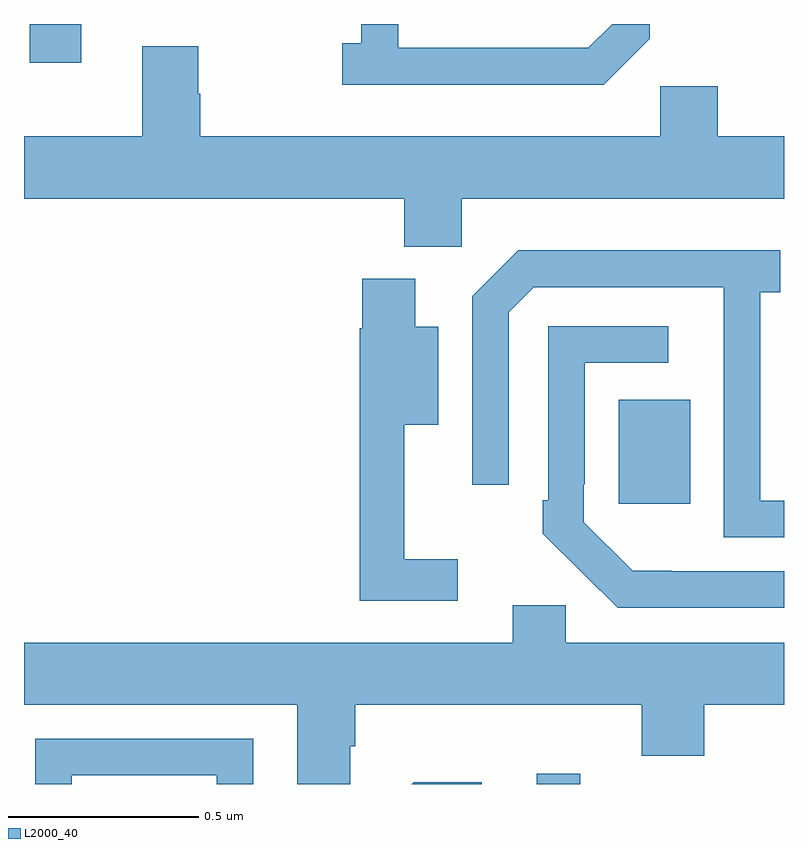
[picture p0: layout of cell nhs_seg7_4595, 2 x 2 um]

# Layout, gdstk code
import gdstk
lib = gdstk.Library(unit=1e-6, precision=1e-09)
def R(c, l, rs):  # rectangles x0, y0, x1, y1
    for r in rs: c.add(gdstk.rectangle(r[:2], r[2:], *l))
def P(c, l, *ps):  # polygons
    for p in ps: c.add(gdstk.Polygon(p, *l))
L2000_40 = (2000, 40)

nhs_seg7_4595 = lib.new_cell('nhs_seg7_4595')
R(nhs_seg7_4595, L2000_40, [(175.349,1075,175.464,1075.027), (175.565,1075.737,175.753,1076.011), (174.015,1076.898,174.151,1077)])
P(nhs_seg7_4595, L2000_40, [(175.647,1076.961),(175.647,1077),(175.548,1077),(175.485,1076.937),(174.985,1076.937),(174.985,1077),(174.888,1077),(174.888,1076.95),(174.837,1076.95),(174.837,1076.84),(175.526,1076.84)],
  [(175.152,1076.54),(176,1076.54),(176,1076.704),(175.826,1076.704),(175.826,1076.836),(175.674,1076.836),(175.674,1076.704),(174.464,1076.704),(174.464,1076.817),(174.459,1076.817),(174.459,1076.942),(174.311,1076.942),(174.311,1076.704),(174,1076.704),(174,1076.54),(175.001,1076.54),(175.001,1076.414),(175.152,1076.414)],
  [(176,1075.746),(175.938,1075.746),(175.938,1076.294),(175.99,1076.294),(175.99,1076.404),(175.3,1076.404),(175.179,1076.283),(175.179,1075.788),(175.275,1075.788),(175.275,1076.241),(175.341,1076.307),(175.841,1076.307),(175.841,1076.107),(175.842,1076.107),(175.842,1075.65),(176,1075.65)],
  [(175.141,1075.591),(175.001,1075.591),(175.001,1075.946),(175.09,1075.946),(175.09,1076.203),(175.03,1076.203),(175.03,1076.329),(174.89,1076.329),(174.89,1076.199),(174.883,1076.199),(174.883,1075.482),(175.141,1075.482)],
  [(176,1075.56),(175.705,1075.56),(175.705,1075.561),(175.602,1075.561),(175.473,1075.689),(175.473,1075.789),(175.476,1075.789),(175.476,1076.109),(175.696,1076.109),(175.696,1076.205),(175.38,1076.205),(175.38,1075.747),(175.365,1075.747),(175.365,1075.659),(175.47,1075.554),(175.471,1075.555),(175.562,1075.464),(176,1075.464)],
  [(174.858,1075.099),(174.872,1075.099),(174.872,1075.208),(175.625,1075.208),(175.625,1075.075),(175.79,1075.075),(175.79,1075.208),(176,1075.208),(176,1075.372),(175.425,1075.372),(175.425,1075.47),(175.286,1075.47),(175.286,1075.372),(174,1075.372),(174,1075.208),(174.719,1075.208),(174.719,1075),(174.858,1075)],
  [(174.126,1075.023),(174.507,1075.023),(174.507,1075),(174.603,1075),(174.603,1075.119),(174.029,1075.119),(174.029,1075),(174.126,1075)],
  [(175.204,1075.004),(175.025,1075.004),(175.021,1075),(175.204,1075)])

lib.write_gds('nhs_seg7_4595.gds')
